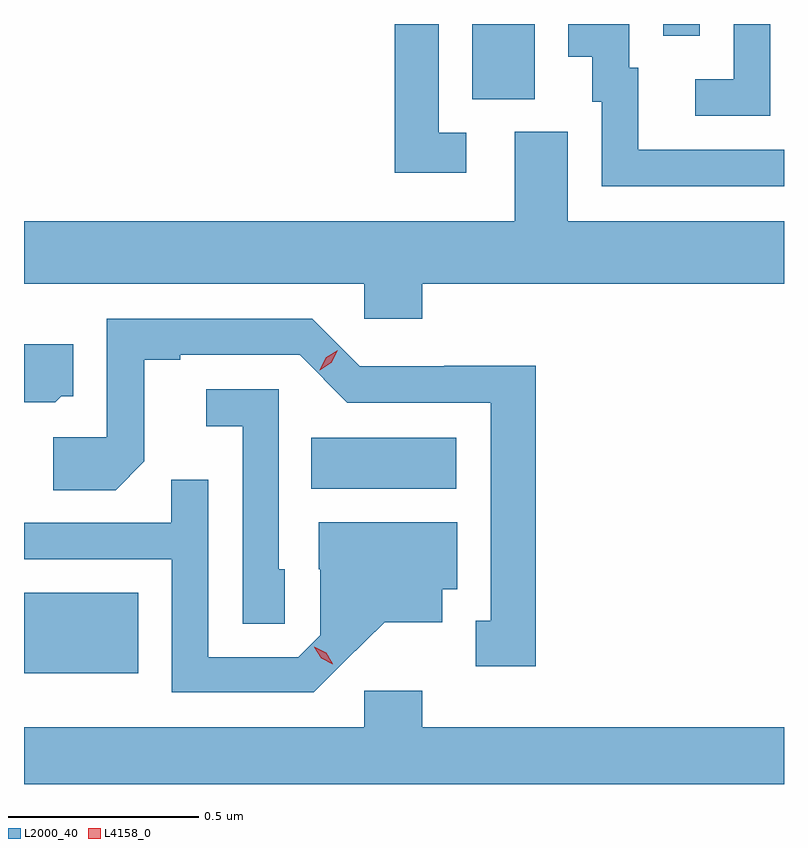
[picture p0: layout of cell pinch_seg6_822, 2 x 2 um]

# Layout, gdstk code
import gdstk
lib = gdstk.Library(unit=1e-6, precision=1e-09)
def R(c, l, rs):  # rectangles x0, y0, x1, y1
    for r in rs: c.add(gdstk.rectangle(r[:2], r[2:], *l))
def P(c, l, *ps):  # polygons
    for p in ps: c.add(gdstk.Polygon(p, *l))
L2000_40 = (2000, 40)
L4158_0 = (4158, 0)

pinch_seg6_822 = lib.new_cell('pinch_seg6_822')
R(pinch_seg6_822, L2000_40, [(146.38,983.606,146.68,983.818), (147.136,984.092,147.517,984.226), (147.56,985.117,147.724,985.315), (148.062,985.284,148.158,985.315)])
P(pinch_seg6_822, L2000_40, [(148.344,985.315),(148.248,985.315),(148.248,985.17),(148.146,985.17),(148.146,985.074),(148.344,985.074)],
  [(148.38,984.984),(147.997,984.984),(147.997,985.2),(147.973,985.2),(147.973,985.315),(147.812,985.315),(147.812,985.229),(147.875,985.229),(147.875,985.11),(147.9,985.11),(147.9,984.888),(148.38,984.888)],
  [(147.544,985.029),(147.471,985.029),(147.471,985.315),(147.355,985.315),(147.355,984.924),(147.544,984.924)],
  [(147.428,984.632),(148.38,984.632),(148.38,984.796),(147.811,984.796),(147.811,985.032),(147.671,985.032),(147.671,984.796),(146.38,984.796),(146.38,984.632),(147.276,984.632),(147.276,984.539),(147.428,984.539)],
  [(147.727,984.416),(147.486,984.416),(147.486,984.414),(147.264,984.414),(147.138,984.54),(146.598,984.54),(146.598,984.228),(146.457,984.228),(146.457,984.088),(146.621,984.088),(146.697,984.164),(146.697,984.432),(146.791,984.432),(146.791,984.444),(147.105,984.444),(147.231,984.318),(147.608,984.318),(147.608,983.745),(147.569,983.745),(147.569,983.625),(147.727,983.625)],
  [(146.478,984.336),(146.509,984.336),(146.509,984.472),(146.38,984.472),(146.38,984.32),(146.462,984.32)],
  [(147.066,983.88),(147.051,983.88),(147.051,984.354),(146.859,984.354),(146.859,984.257),(146.955,984.257),(146.955,983.737),(147.066,983.737)],
  [(147.226,983.639),(147.329,983.741),(147.481,983.741),(147.481,983.828),(147.52,983.828),(147.52,984.004),(147.155,984.004),(147.155,983.88),(147.159,983.88),(147.159,983.706),(147.102,983.649),(146.865,983.649),(146.865,984.116),(146.767,984.116),(146.767,984.003),(146.38,984.003),(146.38,983.907),(146.769,983.907),(146.769,983.556),(147.142,983.556)],
  [(148.38,983.464),(147.428,983.464),(147.428,983.56),(147.276,983.56),(147.276,983.464),(146.38,983.464),(146.38,983.315),(148.38,983.315)])
P(pinch_seg6_822, L4158_0, [(147.158,984.404),(147.158,984.405),(147.175,984.438),(147.206,984.457),(147.206,984.457),(147.206,984.457),(147.189,984.424),(147.158,984.404)],
  [(147.192,983.63),(147.162,983.646),(147.144,983.675),(147.144,983.676),(147.144,983.676),(147.175,983.66),(147.193,983.631),(147.193,983.63)])

lib.write_gds('pinch_seg6_822.gds')
